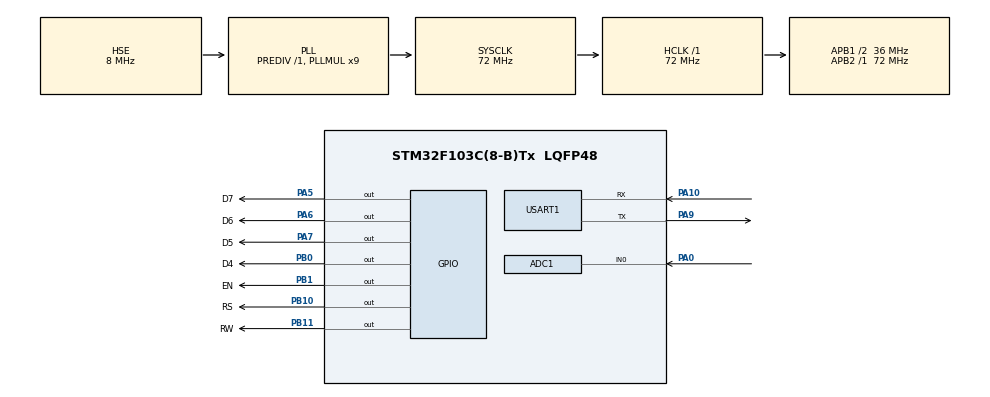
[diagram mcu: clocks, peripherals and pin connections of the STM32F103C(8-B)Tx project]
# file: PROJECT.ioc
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ADC1.Channel-0\#ChannelRegularConversion=ADC_CHANNEL_0
ADC1.NbrOfConversionFlag=1
ADC1.Rank-0\#ChannelRegularConversion=1
ADC1.SamplingTime-0\#ChannelRegularConversion=ADC_SAMPLETIME_239CYCLES_5
ADC1.master=1
Mcu.Family=STM32F1
Mcu.Name=STM32F103C(8-B)Tx
Mcu.Package=LQFP48
NVIC.ADC1_2_IRQn=true\:0\:0\:false\:false\:true\:true\:true\:true
NVIC.PriorityGroup=NVIC_PRIORITYGROUP_4
NVIC.USART1_IRQn=true\:1\:0\:true\:false\:true\:true\:true\:true
PA0-WKUP.Signal=ADCx_IN0
PA10.Mode=Asynchronous
PA10.Signal=USART1_RX
PA13.Mode=Serial_Wire
PA13.Signal=SYS_JTMS-SWDIO
PA14.Mode=Serial_Wire
PA14.Signal=SYS_JTCK-SWCLK
PA5.GPIO_Label=D7
PA5.Signal=GPIO_Output
PA6.GPIO_Label=D6
PA6.Signal=GPIO_Output
PA7.GPIO_Label=D5
PA7.Signal=GPIO_Output
PA9.Mode=Asynchronous
PA9.Signal=USART1_TX
PB0.GPIO_Label=D4
PB0.Signal=GPIO_Output
PB1.GPIO_Label=EN
PB1.Signal=GPIO_Output
PB10.GPIO_Label=RS
PB10.Signal=GPIO_Output
PB11.GPIO_Label=RW
PB11.Signal=GPIO_Output
PD0-OSC_IN.Mode=HSE-External-Oscillator
PD0-OSC_IN.Signal=RCC_OSC_IN
PD1-OSC_OUT.Mode=HSE-External-Oscillator
PD1-OSC_OUT.Signal=RCC_OSC_OUT
ProjectManager.HeapSize=0x200
ProjectManager.StackSize=0x400
ProjectManager.TargetToolchain=MDK-ARM V5.32
RCC.ADCPresc=RCC_ADCPCLK2_DIV6
RCC.AHBFreq_Value=72000000
RCC.APB1CLKDivider=RCC_HCLK_DIV2
RCC.APB1Freq_Value=36000000
RCC.APB1TimFreq_Value=72000000
RCC.APB2Freq_Value=72000000
RCC.APB2TimFreq_Value=72000000
RCC.HCLKFreq_Value=72000000
RCC.PLLMUL=RCC_PLL_MUL9
RCC.PLLSourceVirtual=RCC_PLLSOURCE_HSE
RCC.SYSCLKFreq_VALUE=72000000
RCC.SYSCLKSource=RCC_SYSCLKSOURCE_PLLCLK
RCC.USBFreq_Value=72000000
SH.ADCx_IN0.0=ADC1_IN0,IN0
USART1.VirtualMode=VM_ASYNC
board=custom

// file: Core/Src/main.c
/* USER CODE BEGIN Header */
/**
  ******************************************************************************
  * @file           : main.c
  * @brief          : Main program body
  ******************************************************************************
  * @attention
  *
  * Copyright (c) 2022 STMicroelectronics.
  * All rights reserved.
  *
  * This software is licensed under terms that can be found in the LICENSE file
  * in the root directory of this software component.
  * If no LICENSE file comes with this software, it is provided AS-IS.
  *
  ******************************************************************************
  */
/* USER CODE END Header */
#include "main.h"

/* USER CODE BEGIN Includes */
#include "string.h"
/* USER CODE END Includes */

ADC_HandleTypeDef hadc1;

UART_HandleTypeDef huart1;

/* USER CODE BEGIN PV */
uint8_t data_receive[1];
uint8_t data_copy[2];
uint8_t flag = 0;
uint32_t adc_value;
float v;
uint8_t bb, check = 0, ok = 1;
/* USER CODE END PV */

void SystemClock_Config(void);
static void MX_GPIO_Init(void);
static void MX_USART1_UART_Init(void);
static void MX_ADC1_Init(void);

/* USER CODE BEGIN 0 */
void lcd_busy(void);
void write_to_lcd_4bits(uint8_t rs, uint8_t data)
{
	HAL_GPIO_WritePin(RS_GPIO_Port, RS_Pin, rs);
	HAL_GPIO_WritePin(RW_GPIO_Port, RW_Pin, 0);
	HAL_GPIO_WritePin(EN_GPIO_Port, EN_Pin, 1);

	HAL_GPIO_WritePin(D7_GPIO_Port, D7_Pin, ((data>>3)&0x01));
	HAL_GPIO_WritePin(D6_GPIO_Port, D6_Pin, ((data>>2)&0x01));
	HAL_GPIO_WritePin(D5_GPIO_Port, D5_Pin, ((data>>1)&0x01));
	HAL_GPIO_WritePin(D4_GPIO_Port, D4_Pin, ((data>>0)&0x01));

	for(int i = 0; i < 72; i++)
	{
		__asm("NOP");
	}

	HAL_GPIO_WritePin(EN_GPIO_Port, EN_Pin, 0);
	lcd_busy();
}

void send_command(uint8_t data)
{
	write_to_lcd_4bits(0, (data>>4)&0x0f);
	write_to_lcd_4bits (0, (data>>0)&0x0f);
}

void display_lcd(uint8_t data)
{
	write_to_lcd_4bits(1, (data>>4)&0x0f);
	write_to_lcd_4bits (1, (data>>0)&0x0f);
}

void display_text(char *data)
{
	uint8_t j;
	for(int j=0; j<strlen(data); j++)
	{
		display_lcd(data[j]);
	}
}

void  lcd_clear()
{
	send_command(0x01);
	lcd_busy();
}

void set_cursor(uint8_t row, uint8_t col)
{
	uint8_t temp;
	switch(row)
	{
		case 0:
			temp = col|0x80;
		  break;
		case 1:
			temp = col|0xC0;
		  break;
		default:
			temp = col|0x80;
	}
	send_command(temp);
}

void lcd_config()
{
	send_command(0x28); //LCD 4bit, 2-line, 5x8 hieu 2
	lcd_busy();
	send_command(0x28); //LCD 4bit, 2-line, 5x8 hieu 8
	lcd_busy();
	send_command(0x0f);
	lcd_busy();
	send_command(0x06);
	lcd_busy();
	send_command(0x01);
	lcd_busy();
}

void lcd_busy(void)
{
	uint8_t busy_flag_copy;
	GPIO_InitTypeDef GPIO_InitStruct = {0};
	GPIO_InitStruct.Pin = GPIO_PIN_5;
  GPIO_InitStruct.Mode = GPIO_MODE_INPUT;
  GPIO_InitStruct.Pull = GPIO_NOPULL;
  HAL_GPIO_Init(GPIOA, &GPIO_InitStruct);

	HAL_GPIO_WritePin(RS_GPIO_Port, RS_Pin, 0);
	HAL_GPIO_WritePin(RW_GPIO_Port, RW_Pin, 1);
	do{
		busy_flag_copy = 0;
		HAL_GPIO_WritePin(EN_GPIO_Port, EN_Pin, 1);
		for(int i = 0; i < 72; i++);

		busy_flag_copy = HAL_GPIO_ReadPin(GPIOA, GPIO_PIN_5);

		HAL_GPIO_WritePin(EN_GPIO_Port, EN_Pin, 0);
		for(int i = 0; i < 72; i++);

		HAL_GPIO_WritePin(EN_GPIO_Port, EN_Pin, 1);
		for(int i = 0; i < 72; i++);

		HAL_GPIO_WritePin(EN_GPIO_Port, EN_Pin, 0);
		for(int i = 0; i < 72; i++);
	}while(busy_flag_copy);
	HAL_GPIO_WritePin(RW_GPIO_Port, RW_Pin, 0);
	GPIO_InitStruct.Pin = GPIO_PIN_5;
  GPIO_InitStruct.Mode = GPIO_MODE_OUTPUT_PP;
  GPIO_InitStruct.Pull = GPIO_NOPULL;
  GPIO_InitStruct.Speed = GPIO_SPEED_FREQ_LOW;
  HAL_GPIO_Init(GPIOA, &GPIO_InitStruct);
}

void lcd_Reset()
{
	set_cursor(0,0);
	display_text("Status_1");
	HAL_UART_Transmit(&huart1,"Start", 5, 10);
	flag = 0;
}

void lcd_A()
{
	set_cursor(0,0);
	display_text("Status_2");
	HAL_UART_Transmit(&huart1,"02", 2, 10);
	bb = 1;
}

void lcd_ADC2()
{
	set_cursor(0,0);
	display_text("Status_3");
	HAL_UART_Transmit(&huart1,"03", 2, 10);
	flag = 0;
}

void lcd_B()
{
	set_cursor(0,0);
	display_text("Status_4");
	HAL_UART_Transmit(&huart1,"04", 2, 10);
}

void lcd_ADC1()
{
	set_cursor(0,0);
	display_text("Status_5");
	HAL_UART_Transmit(&huart1,"05", 2, 10);
}
/* USER CODE END 0 */

int main(void)
{

  /* MCU Configuration--------------------------------------------------------*/

  /* Reset of all peripherals, Initializes the Flash interface and the Systick. */
  HAL_Init();

  /* Configure the system clock */
  SystemClock_Config();

  /* Initialize all configured peripherals */
  MX_GPIO_Init();
  MX_USART1_UART_Init();
  MX_ADC1_Init();
  /* USER CODE BEGIN 2 */
	lcd_config();
	HAL_Delay(20);
	HAL_UART_Receive_IT(&huart1, &data_receive[0], 1);

  /* USER CODE END 2 */

  /* Infinite loop */
  while (1)
  {

    /* USER CODE BEGIN 3 */
		if(ok == 1)
		{
			lcd_Reset();
			ok = 0;
		}
		while(flag == 1)
		{
			if(data_copy[0] == 'A')
			{
				lcd_A();
				while(bb == 1)
				{
					HAL_Delay(100);
					HAL_ADC_Start(&hadc1);
					HAL_ADC_PollForConversion(&hadc1, 10);
					adc_value = HAL_ADC_GetValue(&hadc1);
					v = adc_value*3.3/4095;
					if(v >= 2)
					{
						lcd_ADC2();
						while(1)
						{
							HAL_Delay(100);
							if(data_copy[0] == 'B')
							{
								lcd_B();
								while(1)
								{
									HAL_Delay(100);
									HAL_ADC_Start(&hadc1);
									HAL_ADC_PollForConversion(&hadc1, 10);
									adc_value = HAL_ADC_GetValue(&hadc1);
									v = adc_value*3.3/4095;
									if(v > 1 && check == 0)
									{
										lcd_ADC1();
										while(1)
										{
											HAL_Delay(100);
											HAL_ADC_Start(&hadc1);
											HAL_ADC_PollForConversion(&hadc1, 10);
											adc_value = HAL_ADC_GetValue(&hadc1);
											v = adc_value*3.3/4095;
											if(v < 1)
											{
												bb = 0;
												data_copy[0] = ' ';
												break;
											}
										}
										break;
									}
								}
								break;
							}
						}
						break;
					}
				}
			}
			flag = 0;
		}
  }
  /* USER CODE END 3 */
}

void SystemClock_Config(void)
{
  RCC_OscInitTypeDef RCC_OscInitStruct = {0};
  RCC_ClkInitTypeDef RCC_ClkInitStruct = {0};
  RCC_PeriphCLKInitTypeDef PeriphClkInit = {0};

  /** Initializes the RCC Oscillators according to the specified parameters
  * in the RCC_OscInitTypeDef structure.
  */
  RCC_OscInitStruct.OscillatorType = RCC_OSCILLATORTYPE_HSE;
  RCC_OscInitStruct.HSEState = RCC_HSE_ON;
  RCC_OscInitStruct.HSEPredivValue = RCC_HSE_PREDIV_DIV1;
  RCC_OscInitStruct.HSIState = RCC_HSI_ON;
  RCC_OscInitStruct.PLL.PLLState = RCC_PLL_ON;
  RCC_OscInitStruct.PLL.PLLSource = RCC_PLLSOURCE_HSE;
  RCC_OscInitStruct.PLL.PLLMUL = RCC_PLL_MUL9;
  if (HAL_RCC_OscConfig(&RCC_OscInitStruct) != HAL_OK)
  {
    Error_Handler();
  }

  /** Initializes the CPU, AHB and APB buses clocks
  */
  RCC_ClkInitStruct.ClockType = RCC_CLOCKTYPE_HCLK|RCC_CLOCKTYPE_SYSCLK
                              |RCC_CLOCKTYPE_PCLK1|RCC_CLOCKTYPE_PCLK2;
  RCC_ClkInitStruct.SYSCLKSource = RCC_SYSCLKSOURCE_PLLCLK;
  RCC_ClkInitStruct.AHBCLKDivider = RCC_SYSCLK_DIV1;
  RCC_ClkInitStruct.APB1CLKDivider = RCC_HCLK_DIV2;
  RCC_ClkInitStruct.APB2CLKDivider = RCC_HCLK_DIV1;

  if (HAL_RCC_ClockConfig(&RCC_ClkInitStruct, FLASH_LATENCY_2) != HAL_OK)
  {
    Error_Handler();
  }
  PeriphClkInit.PeriphClockSelection = RCC_PERIPHCLK_ADC;
  PeriphClkInit.AdcClockSelection = RCC_ADCPCLK2_DIV6;
  if (HAL_RCCEx_PeriphCLKConfig(&PeriphClkInit) != HAL_OK)
  {
    Error_Handler();
  }
}

static void MX_ADC1_Init(void)
{

  ADC_ChannelConfTypeDef sConfig = {0};

  /** Common config
  */
  hadc1.Instance = ADC1;
  hadc1.Init.ScanConvMode = ADC_SCAN_DISABLE;
  hadc1.Init.ContinuousConvMode = DISABLE;
  hadc1.Init.DiscontinuousConvMode = DISABLE;
  hadc1.Init.ExternalTrigConv = ADC_SOFTWARE_START;
  hadc1.Init.DataAlign = ADC_DATAALIGN_RIGHT;
  hadc1.Init.NbrOfConversion = 1;
  if (HAL_ADC_Init(&hadc1) != HAL_OK)
  {
    Error_Handler();
  }

  /** Configure Regular Channel
  */
  sConfig.Channel = ADC_CHANNEL_0;
  sConfig.Rank = ADC_REGULAR_RANK_1;
  sConfig.SamplingTime = ADC_SAMPLETIME_239CYCLES_5;
  if (HAL_ADC_ConfigChannel(&hadc1, &sConfig) != HAL_OK)
  {
    Error_Handler();
  }

}

static void MX_USART1_UART_Init(void)
{

  huart1.Instance = USART1;
  huart1.Init.BaudRate = 115200;
  huart1.Init.WordLength = UART_WORDLENGTH_8B;
  huart1.Init.StopBits = UART_STOPBITS_1;
  huart1.Init.Parity = UART_PARITY_NONE;
  huart1.Init.Mode = UART_MODE_TX_RX;
  huart1.Init.HwFlowCtl = UART_HWCONTROL_NONE;
  huart1.Init.OverSampling = UART_OVERSAMPLING_16;
  if (HAL_UART_Init(&huart1) != HAL_OK)
  {
    Error_Handler();
  }

}

static void MX_GPIO_Init(void)
{
  GPIO_InitTypeDef GPIO_InitStruct = {0};

  /* GPIO Ports Clock Enable */
  __HAL_RCC_GPIOD_CLK_ENABLE();
  __HAL_RCC_GPIOA_CLK_ENABLE();
  __HAL_RCC_GPIOB_CLK_ENABLE();

  /*Configure GPIO pin Output Level */
  HAL_GPIO_WritePin(GPIOA, D7_Pin|D6_Pin|D5_Pin, GPIO_PIN_RESET);

  /*Configure GPIO pin Output Level */
  HAL_GPIO_WritePin(GPIOB, D4_Pin|EN_Pin|RS_Pin|RW_Pin, GPIO_PIN_RESET);

  /*Configure GPIO pins : D7_Pin D6_Pin D5_Pin */
  GPIO_InitStruct.Pin = D7_Pin|D6_Pin|D5_Pin;
  GPIO_InitStruct.Mode = GPIO_MODE_OUTPUT_PP;
  GPIO_InitStruct.Pull = GPIO_NOPULL;
  GPIO_InitStruct.Speed = GPIO_SPEED_FREQ_LOW;
  HAL_GPIO_Init(GPIOA, &GPIO_InitStruct);

  /*Configure GPIO pins : D4_Pin EN_Pin RS_Pin RW_Pin */
  GPIO_InitStruct.Pin = D4_Pin|EN_Pin|RS_Pin|RW_Pin;
  GPIO_InitStruct.Mode = GPIO_MODE_OUTPUT_PP;
  GPIO_InitStruct.Pull = GPIO_NOPULL;
  GPIO_InitStruct.Speed = GPIO_SPEED_FREQ_LOW;
  HAL_GPIO_Init(GPIOB, &GPIO_InitStruct);

}

void Error_Handler(void)
{
  __disable_irq();
  while (1)
  {
  }
}
